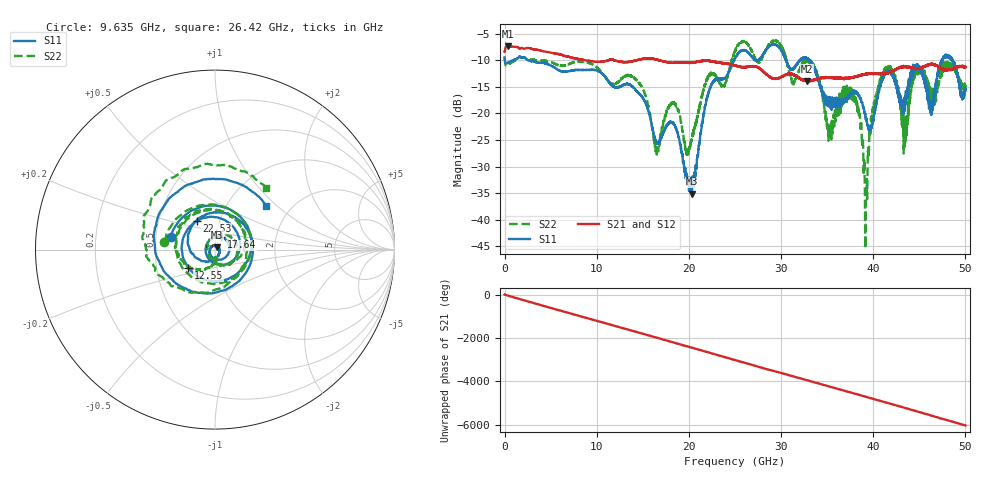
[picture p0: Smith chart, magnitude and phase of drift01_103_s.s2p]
!Created with skrf (http://scikit-rf.org).
# Hz S RI R 50.0
!freq ReS11 ImS11 ReS21 ImS21 ReS12 ImS12 ReS22 ImS22
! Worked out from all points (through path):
!   10001 points, 300 kHz to 50 GHz, reference 50 ohm
!   highest |S21| = -7.33 dB at 325.3 MHz (marker M1); lowest = -14.0 dB at 32.77 GHz (marker M2)
!   group delay of S21, straight-line fit = 335 ps
!   lowest |S11| = -35.1 dB at 20.33 GHz (marker M3), VSWR 1.04, Z = 51.3 + j1.24 ohm
!   |S11| at or under -10 dB: 2.554 GHz to 24.9 GHz (22.35 GHz wide, 163 % of centre); 30.52 GHz to 32.02 GHz (1.492 GHz wide, 4.77 % of centre); 33.07 GHz to 47.44 GHz (14.37 GHz wide, 35.7 % of centre) (the widest 3 of 21)
!   |S22| runs from -45.0 to -6.3 dB; largest |S21 - S12| = 0.01
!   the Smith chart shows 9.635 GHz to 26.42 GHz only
!   S11 on the Smith chart (normalised r, x): 9.635 GHz: 0.60, +0.09; 12.55 GHz: 0.73, -0.16; 17.64 GHz: 1.06, +0.15; 22.53 GHz: 0.78, +0.26; 26.42 GHz: 1.51, +0.85
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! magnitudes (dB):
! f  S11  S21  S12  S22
! 300 kHz  -9.5  -8.4  -8.5  -9.5
! 325.3 MHz  -10.5  -7.3  -7.3  -10.9
! 8.335 GHz  -11.8  -9.9  -9.8  -10.2
! 9.635 GHz  -11.8  -10.2  -10.2  -10.9
! 12.55 GHz  -14.9  -10.2  -10.2  -13.6
! 16.67 GHz  -25.7  -10.0  -9.9  -27.1
! 17.64 GHz  -22.1  -10.3  -10.3  -19.6
! 20.33 GHz  -35.1  -10.4  -10.4  -24.7
! 22.53 GHz  -14.4  -10.2  -10.2  -12.4
! 25 GHz  -9.6  -11.0  -11.0  -8.4
! 26.42 GHz  -8.5  -11.2  -11.2  -7.0
! 32.77 GHz  -9.7  -14.0  -13.9  -10.3
! 33.34 GHz  -10.7  -13.8  -13.8  -10.5
! 35.23 GHz  -17.5  -13.2  -13.2  -22.8
! 37.97 GHz  -15.8  -13.1  -13.1  -17.0
! 39.17 GHz  -20.5  -12.6  -12.6  -40.7
! 40.14 GHz  -20.0  -12.5  -12.5  -18.0
! 41.67 GHz  -11.9  -12.3  -12.4  -12.0
! 43.39 GHz  -17.6  -11.2  -11.2  -23.5
! 44.88 GHz  -11.0  -11.5  -11.6  -11.9
! 46.28 GHz  -18.8  -10.7  -10.6  -17.6
! 50 GHz  -15.8  -11.3  -11.3  -15.1
